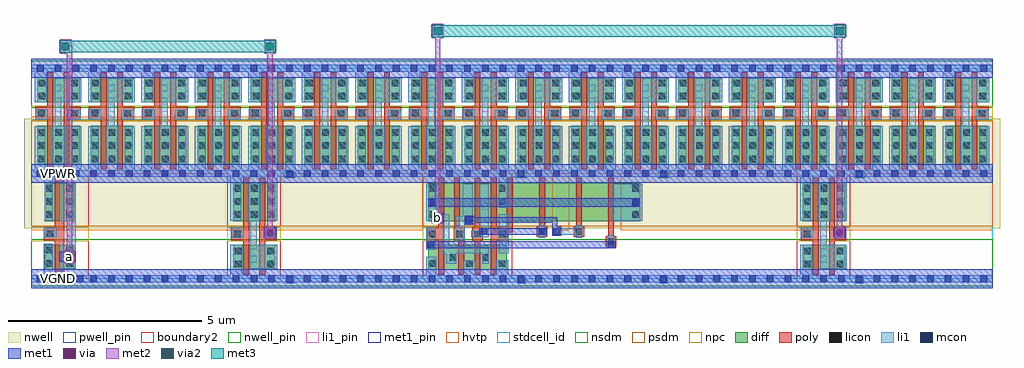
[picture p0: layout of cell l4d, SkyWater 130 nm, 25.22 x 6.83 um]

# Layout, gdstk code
import gdstk
lib = gdstk.Library(unit=1e-6, precision=1e-09)
def R(c, l, rs):  # rectangles x0, y0, x1, y1
    for r in rs: c.add(gdstk.rectangle(r[:2], r[2:], *l))
def A(c, l, x, y, w, h, nx, ny, dx, dy):  # array of equal rectangles
    R(c, l, [(x+i*dx, y+j*dy, x+i*dx+w, y+j*dy+h) for i in range(nx) for j in range(ny)])
def P(c, l, *ps):  # polygons
    for p in ps: c.add(gdstk.Polygon(p, *l))
nwell_pin = (64, 16)
nwell = (64, 20)
diff = (65, 20)
poly = (66, 20)
licon = (66, 44)
li1_pin = (67, 16)
li1 = (67, 20)
mcon = (67, 44)
met1_pin = (68, 16)
met1 = (68, 20)
via = (68, 44)
met2 = (69, 20)
via2 = (69, 44)
met3 = (70, 20)
hvtp = (78, 44)
stdcell_id = (81, 4)
nsdm = (93, 44)
psdm = (94, 20)
npc = (95, 20)
pwell_pin = (122, 16)
boundary2 = (236, 0)

l4d = lib.new_cell('l4d')
A(l4d, nwell_pin, 1.52, 2.635, 0.17, 0.17, 3, 1, 1.38, 0)
A(l4d, nwell_pin, 5.66, 2.635, 0.17, 0.17, 4, 1, 1.38, 0)
A(l4d, nwell_pin, 11.18, 2.635, 0.17, 0.17, 7, 1, 1.38, 0)
A(l4d, nwell_pin, 20.84, 2.635, 0.17, 0.17, 3, 1, 1.38, 0)
R(l4d, nwell_pin, [(6.54,2.61,6.825,2.765), (12.52,2.61,12.805,2.765), (16.2,2.61,16.485,2.765), (21.26,2.61,21.545,2.765), (0.14,2.635,0.31,2.805), (0.145,2.635,0.315,2.805), (0.145,2.635,0.315,2.805), (5.2,2.635,5.37,2.805), (10.265,2.635,10.435,2.805), (19.92,2.635,20.09,2.805), (1.555,2.65,1.68,2.78), (3.395,2.65,3.52,2.78)])
A(l4d, nwell, -0.19, 2.53, 1.76, 1.605, 18, 1, 1.38, 0)
R(l4d, nwell, [(-0.19,1.305,1.67,2.91), (1.29,1.305,3.41,2.91), (3.03,1.305,5.25,2.91), (4.87,1.305,6.63,2.91), (6.25,1.305,10.31,2.91), (9.93,1.305,15.915,2.91), (12.23,1.305,16.29,2.91), (15.91,1.305,19.97,2.91), (19.59,1.305,21.35,2.91), (20.97,1.305,25.03,2.91)])
A(l4d, diff, 0.155, 2.955, 1.09, 1, 18, 1, 1.38, 0)
A(l4d, diff, 0.155, 4.555, 1.09, 0.65, 18, 1, 1.38, 0)
R(l4d, diff, [(0.34,0.235,1.11,0.885), (5.215,0.235,6.305,0.885), (10.255,0.235,12.285,0.885), (19.935,0.235,21.025,0.885), (0.34,1.485,1.11,2.485), (5.215,1.485,6.305,2.485), (10.255,1.485,15.735,2.485), (19.935,1.485,21.025,2.485)])
A(l4d, poly, 0.105, 4.115, 0.31, 0.33, 18, 1, 1.38, 0)
A(l4d, poly, 0.985, 4.115, 0.29, 0.33, 18, 1, 1.38, 0)
R(l4d, poly, [(0.6,0.105,0.85,2.615), (5.475,0.105,5.625,2.615), (5.895,0.105,6.045,2.615), (10.515,0.105,10.665,2.615), (11.03,0.105,11.075,2.615), (11.075,0.105,11.18,1.325), (11.455,0.105,11.605,2.615), (11.875,0.105,12.025,2.615), (20.195,0.105,20.345,2.615), (20.615,0.105,20.765,2.615), (14.845,0.825,15.115,1.095), (0.32,0.995,0.6,1.325), (5.165,0.995,5.475,1.325), (6.045,0.995,6.335,1.325), (10.225,0.995,10.515,1.325), (10.915,0.995,10.925,1.325), (10.925,0.995,11.03,2.615), (11.18,0.995,11.185,1.325), (11.395,0.995,11.455,1.325), (11.605,0.995,11.665,1.325), (12.025,0.995,12.315,1.325), (19.885,0.995,20.195,1.325), (20.765,0.995,21.055,1.325), (13.065,1.085,13.335,1.355), (14.015,1.085,14.285,1.355), (14.905,1.095,15.055,1.355), (11.875,1.205,12.435,1.355), (12.285,1.205,12.435,2.615), (13.125,1.355,13.275,2.615), (14.075,1.355,14.225,2.615), (14.905,1.355,15.055,2.615), (0.415,2.825,0.565,5.335), (0.835,2.825,0.985,5.335), (1.795,2.825,1.945,5.335), (2.215,2.825,2.365,5.335), (3.175,2.825,3.325,5.335), (3.595,2.825,3.745,5.335), (4.555,2.825,4.705,5.335), (4.975,2.825,5.125,5.335), (5.935,2.825,6.085,5.335), (6.355,2.825,6.505,5.335), (7.315,2.825,7.465,5.335), (7.735,2.825,7.885,5.335), (8.695,2.825,8.845,5.335), (9.115,2.825,9.265,5.335), (10.075,2.825,10.225,5.335), (10.495,2.825,10.645,5.335), (11.455,2.825,11.605,5.335), (11.875,2.825,12.025,5.335), (12.835,2.825,12.985,5.335), (13.255,2.825,13.405,5.335), (14.215,2.825,14.365,5.335), (14.635,2.825,14.785,5.335), (15.595,2.825,15.745,5.335), (16.015,2.825,16.165,5.335), (16.975,2.825,17.125,5.335), (17.395,2.825,17.545,5.335), (18.355,2.825,18.505,5.335), (18.775,2.825,18.925,5.335), (19.735,2.825,19.885,5.335), (20.155,2.825,20.305,5.335), (21.115,2.825,21.265,5.335), (21.535,2.825,21.685,5.335), (22.495,2.825,22.645,5.335), (22.915,2.825,23.065,5.335), (23.875,2.825,24.025,5.335), (24.295,2.825,24.445,5.335)])
A(l4d, licon, 0.38, 1.575, 0.17, 0.17, 1, 3, 0, 0.34)
A(l4d, licon, 0.9, 1.575, 0.17, 0.17, 1, 3, 0, 0.34)
A(l4d, licon, 5.255, 1.575, 0.17, 0.17, 3, 3, 0.42, 0.34)
A(l4d, licon, 10.295, 1.575, 0.17, 0.17, 1, 3, 0, 0.34)
A(l4d, licon, 15.525, 1.575, 0.17, 0.17, 1, 3, 0, 0.34)
A(l4d, licon, 19.975, 1.575, 0.17, 0.17, 3, 3, 0.42, 0.34)
A(l4d, licon, 0.195, 3.015, 0.17, 0.17, 3, 3, 0.42, 0.34)
A(l4d, licon, 1.575, 3.015, 0.17, 0.17, 3, 3, 0.42, 0.34)
A(l4d, licon, 2.955, 3.015, 0.17, 0.17, 3, 3, 0.42, 0.34)
A(l4d, licon, 4.335, 3.015, 0.17, 0.17, 3, 3, 0.42, 0.34)
A(l4d, licon, 5.715, 3.015, 0.17, 0.17, 3, 3, 0.42, 0.34)
A(l4d, licon, 7.095, 3.015, 0.17, 0.17, 3, 3, 0.42, 0.34)
A(l4d, licon, 8.475, 3.015, 0.17, 0.17, 3, 3, 0.42, 0.34)
A(l4d, licon, 9.855, 3.015, 0.17, 0.17, 3, 3, 0.42, 0.34)
A(l4d, licon, 11.235, 3.015, 0.17, 0.17, 3, 3, 0.42, 0.34)
A(l4d, licon, 12.615, 3.015, 0.17, 0.17, 3, 3, 0.42, 0.34)
A(l4d, licon, 13.995, 3.015, 0.17, 0.17, 3, 3, 0.42, 0.34)
A(l4d, licon, 15.375, 3.015, 0.17, 0.17, 3, 3, 0.42, 0.34)
A(l4d, licon, 16.755, 3.015, 0.17, 0.17, 3, 3, 0.42, 0.34)
A(l4d, licon, 18.135, 3.015, 0.17, 0.17, 3, 3, 0.42, 0.34)
A(l4d, licon, 19.515, 3.015, 0.17, 0.17, 3, 3, 0.42, 0.34)
A(l4d, licon, 20.895, 3.015, 0.17, 0.17, 3, 3, 0.42, 0.34)
A(l4d, licon, 22.275, 3.015, 0.17, 0.17, 3, 3, 0.42, 0.34)
A(l4d, licon, 23.655, 3.015, 0.17, 0.17, 3, 3, 0.42, 0.34)
R(l4d, licon, [(5.255,0.295,5.425,0.465), (6.095,0.295,6.265,0.465), (19.975,0.295,20.145,0.465), (20.815,0.295,20.985,0.465), (10.295,0.305,10.465,0.475), (11.235,0.305,11.405,0.475), (12.075,0.305,12.245,0.475), (0.38,0.315,0.55,0.485), (0.9,0.315,1.07,0.485), (10.81,0.465,10.98,0.635), (11.655,0.465,11.825,0.635), (5.255,0.635,5.425,0.805), (6.095,0.635,6.265,0.805), (19.975,0.635,20.145,0.805), (20.815,0.635,20.985,0.805), (0.38,0.655,0.55,0.825), (0.9,0.655,1.07,0.825), (14.895,0.875,15.065,1.045), (0.4,1.075,0.57,1.245), (5.24,1.075,5.41,1.245), (6.08,1.075,6.25,1.245), (10.285,1.075,10.455,1.245), (10.965,1.075,11.135,1.245), (11.445,1.075,11.615,1.245), (12.095,1.075,12.265,1.245), (19.96,1.075,20.13,1.245), (20.8,1.075,20.97,1.245), (13.115,1.135,13.285,1.305), (14.065,1.135,14.235,1.305), (12.075,1.915,12.245,2.085), (12.075,2.255,12.245,2.425), (0.18,4.195,0.35,4.365), (1.02,4.195,1.19,4.365), (1.56,4.195,1.73,4.365), (2.4,4.195,2.57,4.365), (2.94,4.195,3.11,4.365), (3.78,4.195,3.95,4.365), (4.32,4.195,4.49,4.365), (5.16,4.195,5.33,4.365), (5.7,4.195,5.87,4.365), (6.54,4.195,6.71,4.365), (7.08,4.195,7.25,4.365), (7.92,4.195,8.09,4.365), (8.46,4.195,8.63,4.365), (9.3,4.195,9.47,4.365), (9.84,4.195,10.01,4.365), (10.68,4.195,10.85,4.365), (11.22,4.195,11.39,4.365), (12.06,4.195,12.23,4.365), (12.6,4.195,12.77,4.365), (13.44,4.195,13.61,4.365), (13.98,4.195,14.15,4.365), (14.82,4.195,14.99,4.365), (15.36,4.195,15.53,4.365), (16.2,4.195,16.37,4.365), (16.74,4.195,16.91,4.365), (17.58,4.195,17.75,4.365), (18.12,4.195,18.29,4.365), (18.96,4.195,19.13,4.365), (19.5,4.195,19.67,4.365), (20.34,4.195,20.51,4.365), (20.88,4.195,21.05,4.365), (21.72,4.195,21.89,4.365), (22.26,4.195,22.43,4.365), (23.1,4.195,23.27,4.365), (23.64,4.195,23.81,4.365), (24.48,4.195,24.65,4.365), (0.195,4.635,0.365,4.805), (1.035,4.635,1.205,4.805), (1.575,4.635,1.745,4.805), (2.415,4.635,2.585,4.805), (2.955,4.635,3.125,4.805), (3.795,4.635,3.965,4.805), (4.335,4.635,4.505,4.805), (5.175,4.635,5.345,4.805), (5.715,4.635,5.885,4.805), (6.555,4.635,6.725,4.805), (7.095,4.635,7.265,4.805), (7.935,4.635,8.105,4.805), (8.475,4.635,8.645,4.805), (9.315,4.635,9.485,4.805), (9.855,4.635,10.025,4.805), (10.695,4.635,10.865,4.805), (11.235,4.635,11.405,4.805), (12.075,4.635,12.245,4.805), (12.615,4.635,12.785,4.805), (13.455,4.635,13.625,4.805), (13.995,4.635,14.165,4.805), (14.835,4.635,15.005,4.805), (15.375,4.635,15.545,4.805), (16.215,4.635,16.385,4.805), (16.755,4.635,16.925,4.805), (17.595,4.635,17.765,4.805), (18.135,4.635,18.305,4.805), (18.975,4.635,19.145,4.805), (19.515,4.635,19.685,4.805), (20.355,4.635,20.525,4.805), (20.895,4.635,21.065,4.805), (21.735,4.635,21.905,4.805), (22.275,4.635,22.445,4.805), (23.115,4.635,23.285,4.805), (23.655,4.635,23.825,4.805), (24.495,4.635,24.665,4.805), (0.195,4.975,0.365,5.145), (1.035,4.975,1.205,5.145), (1.575,4.975,1.745,5.145), (2.415,4.975,2.585,5.145), (2.955,4.975,3.125,5.145), (3.795,4.975,3.965,5.145), (4.335,4.975,4.505,5.145), (5.175,4.975,5.345,5.145), (5.715,4.975,5.885,5.145), (6.555,4.975,6.725,5.145), (7.095,4.975,7.265,5.145), (7.935,4.975,8.105,5.145), (8.475,4.975,8.645,5.145), (9.315,4.975,9.485,5.145), (9.855,4.975,10.025,5.145), (10.695,4.975,10.865,5.145), (11.235,4.975,11.405,5.145), (12.075,4.975,12.245,5.145), (12.615,4.975,12.785,5.145), (13.455,4.975,13.625,5.145), (13.995,4.975,14.165,5.145), (14.835,4.975,15.005,5.145), (15.375,4.975,15.545,5.145), (16.215,4.975,16.385,5.145), (16.755,4.975,16.925,5.145), (17.595,4.975,17.765,5.145), (18.135,4.975,18.305,5.145), (18.975,4.975,19.145,5.145), (19.515,4.975,19.685,5.145), (20.355,4.975,20.525,5.145), (20.895,4.975,21.065,5.145), (21.735,4.975,21.905,5.145), (22.275,4.975,22.445,5.145), (23.115,4.975,23.285,5.145), (23.655,4.975,23.825,5.145), (24.495,4.975,24.665,5.145)])
A(l4d, li1_pin, 5.2, 1.105, 0.17, 0.17, 3, 1, 0.46, 0)
A(l4d, li1_pin, 19.92, 1.105, 0.17, 0.17, 3, 1, 0.46, 0)
A(l4d, li1_pin, 0.14, 4.165, 0.17, 0.17, 54, 1, 0.46, 0)
A(l4d, li1_pin, 0.6, 4.505, 0.17, 0.17, 18, 2, 1.38, 0.34)
R(l4d, li1_pin, [(5.66,0.425,5.83,0.595), (20.38,0.425,20.55,0.595), (5.66,0.765,5.83,0.935), (10.265,0.765,10.435,0.935), (12.105,0.765,12.275,0.935), (20.38,0.765,20.55,0.935), (0.36,1.105,0.53,1.275), (0.92,1.105,1.09,1.275), (10.26,1.105,10.43,1.275), (0.92,1.445,1.09,1.615), (11.185,1.445,11.355,1.615), (11.645,1.785,11.815,1.955), (10.27,2.125,10.44,2.295)])
A(l4d, li1, 0.085, 2.635, 0.28, 1.31, 18, 1, 1.38, 0)
A(l4d, li1, 0.365, 2.635, 0.67, 0.17, 4, 1, 1.38, 0)
A(l4d, li1, 1.035, 2.635, 0.26, 1.31, 18, 1, 1.38, 0)
A(l4d, li1, 5.885, 2.635, 0.67, 0.17, 11, 1, 1.38, 0)
A(l4d, li1, 21.065, 2.635, 0.67, 0.17, 3, 1, 1.38, 0)
A(l4d, li1, 0.535, 2.975, 0.065, 0.98, 18, 1, 1.38, 0)
A(l4d, li1, 0.6, 2.975, 0.17, 2.21, 18, 1, 1.38, 0)
A(l4d, li1, 0.77, 2.975, 0.095, 0.98, 18, 1, 1.38, 0)
A(l4d, li1, 0.095, 4.115, 0.335, 0.27, 18, 1, 1.38, 0)
A(l4d, li1, 0.94, 4.115, 0.335, 0.25, 18, 1, 1.38, 0)
A(l4d, li1, 0.085, 4.555, 0.31, 0.97, 18, 1, 1.38, 0)
A(l4d, li1, 0.77, 4.555, 0.095, 0.63, 18, 1, 1.38, 0)
A(l4d, li1, 0.865, 4.555, 0.43, 0.63, 18, 1, 1.38, 0)
A(l4d, li1, 0, 5.355, 0.085, 0.17, 18, 1, 1.38, 0)
A(l4d, li1, 0.395, 5.355, 0.985, 0.17, 18, 1, 1.38, 0)
R(l4d, li1, [(0,-0.085,1.48,0.085), (1.48,-0.085,3.22,0.085), (3.22,-0.085,5.06,0.085), (5.06,-0.085,5.145,0.085), (5.145,-0.085,5.455,0.885), (5.455,-0.085,6.44,0.085), (6.44,-0.085,10.12,0.085), (10.12,-0.085,10.205,0.085), (10.205,-0.085,10.465,0.575), (10.465,-0.085,11.155,0.085), (11.155,-0.085,11.485,0.485), (11.485,-0.085,11.995,0.085), (11.995,-0.085,12.325,0.485), (12.325,-0.085,12.42,0.085), (12.42,-0.085,16.1,0.085), (16.1,-0.085,19.78,0.085), (19.78,-0.085,19.865,0.085), (19.865,-0.085,20.175,0.885), (20.175,-0.085,21.16,0.085), (21.16,-0.085,24.84,0.085), (0.32,0.005,0.55,0.905), (0.72,0.255,0.92,0.885), (0.92,0.255,1.15,2.465), (5.66,0.255,5.83,2.465), (5.83,0.255,5.925,0.885), (5.925,0.255,6.355,0.885), (20.38,0.255,20.55,2.465), (20.55,0.255,20.645,0.885), (20.645,0.255,21.075,0.885), (10.715,0.385,10.795,1.665), (10.795,0.385,10.98,0.825), (11.655,0.385,11.825,0.825), (0.9,0.485,1.07,0.655), (10.625,0.645,10.715,1.665), (10.98,0.655,11.655,0.825), (12.075,0.655,12.335,1.665), (10.205,0.745,10.455,1.325), (14.895,0.795,15.065,1.125), (10.965,0.995,11.15,1.615), (11.15,0.995,11.195,2.45), (5.155,1.055,5.49,1.325), (13.115,1.055,13.285,1.385), (14.065,1.055,14.235,1.385), (19.875,1.055,20.21,1.325), (0.32,1.075,0.65,1.315), (6,1.075,6.335,1.325), (11.365,1.075,11.575,1.245), (11.575,1.075,11.815,2.45), (20.72,1.075,21.055,1.325), (6.082,1.115,6.252,1.285), (20.803,1.115,20.973,1.285), (13.49,1.14,13.66,1.31), (13.49,1.14,14.23,1.31), (11.195,1.415,11.405,2.45), (11.23,1.43,11.4,1.6), (11.23,1.43,11.4,1.6), (0.72,1.485,0.92,2.465), (5.595,1.485,5.66,2.465), (5.83,1.485,5.925,2.465), (20.315,1.485,20.38,2.465), (20.55,1.485,20.645,2.465), (0.34,1.495,0.55,2.675), (5.145,1.495,5.425,2.805), (6.095,1.495,6.355,2.805), (10.21,1.495,10.545,2.45), (10.417,1.495,10.587,1.665), (10.545,1.495,10.625,1.665), (14.983,1.495,15.573,1.665), (15.025,1.495,15.78,2.45), (19.865,1.495,20.145,2.805), (20.815,1.495,21.075,2.805), (12.075,1.835,12.335,2.805), (0,2.635,1.48,2.805), (0,2.635,0.085,2.805), (1.295,2.635,1.38,2.805), (1.38,2.635,1.465,2.805), (1.48,2.635,3.22,2.805), (2.675,2.635,2.76,2.805), (2.76,2.635,2.845,2.805), (3.22,2.635,5.06,2.805), (4.055,2.635,4.14,2.805), (4.14,2.635,4.225,2.805), (5.06,2.635,5.145,2.805), (5.425,2.635,6.095,2.805), (5.435,2.635,5.52,2.805), (5.52,2.635,5.605,2.805), (6.355,2.635,6.44,2.805), (6.44,2.635,10.12,2.805), (6.815,2.635,6.9,2.805), (6.9,2.635,6.985,2.805), (8.195,2.635,8.28,2.805), (8.28,2.635,8.365,2.805), (9.575,2.635,9.66,2.805), (9.66,2.635,9.745,2.805), (10.12,2.635,12.075,2.805), (10.955,2.635,11.04,2.805), (11.04,2.635,11.125,2.805), (12.335,2.635,12.42,2.805), (12.335,2.635,12.42,2.805), (12.42,2.635,12.505,2.805), (12.42,2.635,16.1,2.805), (13.715,2.635,13.8,2.805), (13.8,2.635,13.885,2.805), (15.095,2.635,15.18,2.805), (15.18,2.635,15.265,2.805), (16.1,2.635,19.78,2.805), (16.475,2.635,16.56,2.805), (16.56,2.635,16.645,2.805), (17.855,2.635,17.94,2.805), (17.94,2.635,18.025,2.805), (19.235,2.635,19.32,2.805), (19.32,2.635,19.405,2.805), (19.78,2.635,19.865,2.805), (20.145,2.635,20.815,2.805), (20.615,2.635,20.7,2.805), (20.7,2.635,20.785,2.805), (21.075,2.635,21.16,2.805), (21.16,2.635,24.84,2.805), (21.995,2.635,22.08,2.805), (22.08,2.635,22.165,2.805), (23.375,2.635,23.46,2.805), (23.46,2.635,23.545,2.805), (24.755,2.635,24.84,2.805)])
A(l4d, mcon, 1.525, -0.085, 0.17, 0.17, 51, 1, 0.46, 0)
A(l4d, mcon, 0.145, 5.355, 0.17, 0.17, 54, 1, 0.46, 0)
R(l4d, mcon, [(0.145,-0.085,0.315,0.085), (0.605,-0.085,0.875,0.085), (1.165,-0.085,1.335,0.085), (0.9,0.485,1.07,0.655), (10.245,0.795,10.415,0.965), (14.895,0.795,15.065,0.965), (6.082,1.115,6.252,1.285), (20.803,1.115,20.973,1.285), (11.61,1.135,11.78,1.305), (13.115,1.135,13.285,1.305), (13.49,1.14,13.66,1.31), (11.23,1.43,11.4,1.6), (10.417,1.495,10.587,1.665), (10.292,1.887,10.462,2.057), (15.528,1.887,15.698,2.057), (0.145,2.635,0.315,2.805), (0.145,2.635,0.315,2.805), (0.605,2.635,0.775,2.805), (0.605,2.635,0.775,2.805), (1.065,2.635,1.235,2.805), (1.065,2.635,1.235,2.805), (1.525,2.635,1.695,2.805), (1.525,2.635,1.695,2.805), (1.985,2.635,2.155,2.805), (1.985,2.635,2.155,2.805), (2.445,2.635,2.615,2.805), (2.445,2.635,2.615,2.805), (2.905,2.635,3.075,2.805), (2.905,2.635,3.075,2.805), (3.365,2.635,3.535,2.805), (3.365,2.635,3.535,2.805), (3.825,2.635,3.995,2.805), (3.825,2.635,3.995,2.805), (4.285,2.635,4.455,2.805), (4.285,2.635,4.455,2.805), (4.745,2.635,4.915,2.805), (4.745,2.635,4.915,2.805), (5.205,2.635,5.375,2.805), (5.205,2.635,5.375,2.805), (5.665,2.635,5.835,2.805), (5.665,2.635,5.835,2.805), (6.125,2.635,6.295,2.805), (6.125,2.635,6.295,2.805), (6.585,2.635,6.755,2.805), (6.585,2.635,6.755,2.805), (7.045,2.635,7.215,2.805), (7.045,2.635,7.215,2.805), (7.505,2.635,7.675,2.805), (7.505,2.635,7.675,2.805), (7.965,2.635,8.135,2.805), (7.965,2.635,8.135,2.805), (8.425,2.635,8.595,2.805), (8.425,2.635,8.595,2.805), (8.885,2.635,9.055,2.805), (8.885,2.635,9.055,2.805), (9.345,2.635,9.515,2.805), (9.345,2.635,9.515,2.805), (9.805,2.635,9.975,2.805), (9.805,2.635,9.975,2.805), (10.265,2.635,10.435,2.805), (10.265,2.635,10.435,2.805), (10.725,2.635,10.895,2.805), (10.725,2.635,10.895,2.805), (11.185,2.635,11.355,2.805), (11.185,2.635,11.355,2.805), (11.645,2.635,11.815,2.805), (11.645,2.635,11.815,2.805), (12.105,2.635,12.275,2.805), (12.105,2.635,12.275,2.805), (12.565,2.635,12.735,2.805), (12.565,2.635,12.735,2.805), (13.025,2.635,13.195,2.805), (13.025,2.635,13.195,2.805), (13.485,2.635,13.655,2.805), (13.485,2.635,13.655,2.805), (13.945,2.635,14.115,2.805), (13.945,2.635,14.115,2.805), (14.405,2.635,14.575,2.805), (14.405,2.635,14.575,2.805), (14.865,2.635,15.035,2.805), (14.865,2.635,15.035,2.805), (15.325,2.635,15.495,2.805), (15.325,2.635,15.495,2.805), (15.785,2.635,15.955,2.805), (15.785,2.635,15.955,2.805), (16.245,2.635,16.415,2.805), (16.245,2.635,16.415,2.805), (16.705,2.635,16.875,2.805), (16.705,2.635,16.875,2.805), (17.165,2.635,17.335,2.805), (17.165,2.635,17.335,2.805), (17.625,2.635,17.795,2.805), (17.625,2.635,17.795,2.805), (18.085,2.635,18.255,2.805), (18.085,2.635,18.255,2.805), (18.545,2.635,18.715,2.805), (18.545,2.635,18.715,2.805), (19.005,2.635,19.175,2.805), (19.005,2.635,19.175,2.805), (19.465,2.635,19.635,2.805), (19.465,2.635,19.635,2.805), (19.925,2.635,20.095,2.805), (19.925,2.635,20.095,2.805), (20.385,2.635,20.555,2.805), (20.385,2.635,20.555,2.805), (20.845,2.635,21.015,2.805), (20.845,2.635,21.015,2.805), (21.305,2.635,21.475,2.805), (21.305,2.635,21.475,2.805), (21.765,2.635,21.935,2.805), (21.765,2.635,21.935,2.805), (22.225,2.635,22.395,2.805), (22.225,2.635,22.395,2.805), (22.685,2.635,22.855,2.805), (22.685,2.635,22.855,2.805), (23.145,2.635,23.315,2.805), (23.145,2.635,23.315,2.805), (23.605,2.635,23.775,2.805), (23.605,2.635,23.775,2.805), (24.065,2.635,24.235,2.805), (24.065,2.635,24.235,2.805), (24.525,2.635,24.695,2.805), (24.525,2.635,24.695,2.805)])
A(l4d, met1_pin, 1.52, 2.635, 0.17, 0.17, 3, 1, 1.38, 0)
A(l4d, met1_pin, 5.66, 2.635, 0.17, 0.17, 4, 1, 1.38, 0)
A(l4d, met1_pin, 11.18, 2.635, 0.17, 0.17, 7, 1, 1.38, 0)
A(l4d, met1_pin, 20.84, 2.635, 0.17, 0.17, 3, 1, 1.38, 0)
A(l4d, met1_pin, 0.14, 5.355, 0.17, 0.17, 18, 1, 1.38, 0)
R(l4d, met1_pin, [(6.615,-0.1,6.775,0.05), (12.595,-0.1,12.755,0.05), (16.275,-0.1,16.435,0.05), (21.335,-0.1,21.495,0.05), (0.145,-0.085,0.315,0.085), (0.145,-0.085,0.315,0.085), (5.2,-0.085,5.37,0.085), (10.265,-0.085,10.435,0.085), (19.92,-0.085,20.09,0.085), (1.55,-0.05,1.665,0.045), (3.39,-0.05,3.505,0.045), (6.585,2.615,6.775,2.775), (12.565,2.615,12.755,2.775), (16.245,2.615,16.435,2.775), (21.305,2.615,21.495,2.775), (0.14,2.635,0.31,2.805), (0.145,2.635,0.315,2.805), (0.145,2.635,0.315,2.805), (5.2,2.635,5.37,2.805), (10.265,2.635,10.435,2.805), (19.92,2.635,20.09,2.805), (1.55,2.675,1.65,2.76), (3.39,2.675,3.49,2.76)])
A(l4d, met1, 0, 2.48, 1.38, 0.48, 4, 1, 1.38, 0)
A(l4d, met1, 5.52, 2.48, 1.38, 0.48, 11, 1, 1.38, 0)
A(l4d, met1, 20.7, 2.48, 1.38, 0.48, 3, 1, 1.38, 0)
A(l4d, met1, 0, 5.2, 1.38, 0.48, 18, 1, 1.38, 0)
R(l4d, met1, [(0,-0.24,1.48,0.24), (1.48,-0.24,3.22,0.24), (3.22,-0.24,5.06,0.24), (5.06,-0.24,6.44,0.24), (6.44,-0.24,10.12,0.24), (10.12,-0.24,12.42,0.24), (12.42,-0.24,16.1,0.24), (16.1,-0.24,19.78,0.24), (19.78,-0.24,21.16,0.24), (21.16,-0.24,24.84,0.24), (0.725,0.44,1.145,0.7), (0.74,0.455,1.13,0.685), (0.915,0.5,1.055,0.64), (0.915,0.5,1.055,0.64), (0.915,0.5,1.055,0.64), (0.915,0.5,1.055,0.64), (10.215,0.795,15.095,0.965), (6.007,1.07,6.327,1.33), (20.728,1.07,21.048,1.33), (6.022,1.085,6.312,1.315), (20.743,1.085,21.033,1.315), (13.46,1.11,13.69,1.34), (6.097,1.13,6.237,1.27), (6.097,1.13,6.237,1.27), (6.097,1.13,6.237,1.27), (6.097,1.13,6.237,1.27), (20.818,1.13,20.958,1.27), (20.818,1.13,20.958,1.27), (20.818,1.13,20.958,1.27), (20.818,1.13,20.958,1.27), (11.58,1.135,13.315,1.305), (13.455,1.155,13.645,1.295), (13.455,1.155,13.595,1.585), (11.2,1.4,11.43,1.63), (11.245,1.445,13.595,1.585), (10.342,1.45,10.662,1.71), (10.357,1.465,10.647,1.695), (10.432,1.51,10.572,1.65), (10.432,1.51,10.572,1.65), (10.432,1.51,10.572,1.65), (10.432,1.51,10.572,1.65), (10.262,1.857,15.728,2.087), (0,2.48,1.48,2.96), (1.48,2.48,3.22,2.96), (3.22,2.48,5.06,2.96), (5.06,2.48,6.44,2.96), (6.44,2.48,10.12,2.96), (10.12,2.48,12.42,2.96), (12.42,2.48,16.1,2.96), (16.1,2.48,19.78,2.96), (19.78,2.48,21.16,2.96), (21.16,2.48,24.84,2.96)])
R(l4d, via, [(0.91,0.495,1.06,0.645), (6.092,1.125,6.242,1.275), (20.813,1.125,20.963,1.275), (10.427,1.505,10.577,1.655)])
R(l4d, met2, [(0.855,0.41,1.115,0.73), (0.915,0.5,1.055,6.07), (6.037,1.04,6.297,1.36), (20.758,1.04,21.018,1.36), (6.097,1.13,6.237,6.07), (20.818,1.13,20.958,6.47), (10.372,1.42,10.632,1.74), (10.432,1.51,10.572,6.47), (0.745,5.815,1.025,6.185), (6.027,5.815,6.307,6.185), (0.815,5.93,0.955,6.07), (10.362,6.215,10.642,6.585), (20.748,6.215,21.028,6.585), (10.432,6.33,10.572,6.47)])
R(l4d, via2, [(0.785,5.9,0.985,6.1), (6.067,5.9,6.267,6.1), (10.402,6.3,10.602,6.5), (20.788,6.3,20.988,6.5)])
R(l4d, met3, [(0.72,5.835,1.05,6.165), (6.002,5.835,6.332,6.165), (0.735,5.85,6.317,6.15), (6.017,5.85,6.317,6.15), (10.337,6.235,10.667,6.565), (20.723,6.235,21.053,6.565), (10.352,6.25,21.038,6.55), (20.738,6.25,21.038,6.55)])
A(l4d, hvtp, 0, 2.72, 1.38, 1.47, 18, 1, 1.38, 0)
R(l4d, hvtp, [(0,1.25,1.48,2.72), (1.48,1.25,3.22,2.72), (3.22,1.25,5.06,2.72), (5.06,1.25,6.44,2.72), (6.44,1.25,10.12,2.72), (13.455,1.25,13.895,2.72), (15.235,1.25,16.1,2.72), (16.1,1.25,19.78,2.72), (19.78,1.25,21.16,2.72), (21.16,1.25,24.84,2.72)])
P(l4d, hvtp, [(11.255,1.25),(11.255,1.25),(11.255,1.25),(11.255,1.25)])
A(l4d, stdcell_id, 0, 2.72, 1.38, 2.72, 18, 1, 1.38, 0)
R(l4d, stdcell_id, [(0,0,1.48,2.72), (1.48,0,3.22,2.72), (3.22,0,5.06,2.72), (5.06,0,6.44,2.72), (6.44,0,10.12,2.72), (10.12,0,12.42,2.72), (12.42,0,16.1,2.72), (16.1,0,19.78,2.72), (19.78,0,21.16,2.72), (21.16,0,24.84,2.72)])
A(l4d, nsdm, 0, 4.425, 1.38, 1.205, 18, 1, 1.38, 0)
R(l4d, nsdm, [(0,-0.19,1.48,1.015), (1.48,-0.19,3.22,1.015), (3.22,-0.19,5.06,1.015), (5.06,-0.19,6.44,1.015), (6.44,-0.19,10.12,1.015), (10.12,-0.19,12.42,1.015), (12.42,-0.19,16.1,1.015), (16.1,-0.19,19.78,1.015), (19.78,-0.19,21.16,1.015), (21.16,-0.19,24.84,1.015)])
A(l4d, psdm, 0, 2.53, 1.38, 1.555, 18, 1, 1.38, 0)
R(l4d, psdm, [(0,1.355,1.48,2.91), (1.48,1.355,3.22,2.91), (3.22,1.355,5.06,2.91), (5.06,1.355,6.44,2.91), (6.44,1.355,10.12,2.91), (10.12,1.355,15.86,2.91), (12.42,1.355,16.1,2.91), (16.1,1.355,19.78,2.91), (19.78,1.355,21.16,2.91), (21.16,1.355,24.84,2.91)])
A(l4d, npc, 0, 4.095, 1.38, 0.37, 18, 1, 1.38, 0)
R(l4d, npc, [(0,0.975,1.48,1.345), (5.06,0.975,6.44,1.345), (10.12,0.975,12.42,1.345), (19.78,0.975,21.16,1.345)])
A(l4d, pwell_pin, 0.14, 5.355, 0.17, 0.17, 18, 1, 1.38, 0)
R(l4d, pwell_pin, [(6.57,-0.12,6.79,0.05), (12.55,-0.12,12.77,0.05), (16.23,-0.12,16.45,0.05), (21.29,-0.12,21.51,0.05), (0.145,-0.085,0.315,0.085), (0.145,-0.085,0.315,0.085), (5.2,-0.085,5.37,0.085), (10.265,-0.085,10.435,0.085), (19.92,-0.085,20.09,0.085), (1.555,-0.06,1.665,0.06), (3.395,-0.06,3.505,0.06)])
A(l4d, boundary2, 0, 2.72, 1.38, 2.72, 18, 1, 1.38, 0)
R(l4d, boundary2, [(0,0,1.48,2.72), (5.06,0,6.44,2.72), (10.12,0,12.42,2.72), (19.78,0,21.16,2.72)])
l4d.add(gdstk.Label('VPWR', (0.69,2.72), layer=67, texttype=20))
l4d.add(gdstk.Label('VGND', (0.69,0), layer=67, texttype=20))
l4d.add(gdstk.Label('a', (0.985,0.57), layer=68, texttype=20))
l4d.add(gdstk.Label('b', (10.502,1.58), layer=68, texttype=20))

lib.write_gds('l4d.gds')
